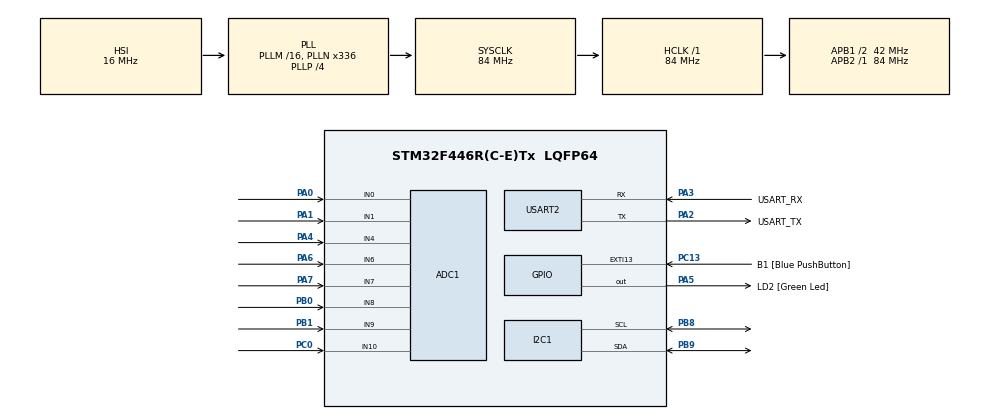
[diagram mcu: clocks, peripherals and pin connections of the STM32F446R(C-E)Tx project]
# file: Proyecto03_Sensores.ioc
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ADC1.Channel-0\#ChannelRegularConversion=ADC_CHANNEL_0
ADC1.Channel-1\#ChannelRegularConversion=ADC_CHANNEL_1
ADC1.Channel-2\#ChannelRegularConversion=ADC_CHANNEL_4
ADC1.Channel-3\#ChannelRegularConversion=ADC_CHANNEL_6
ADC1.Channel-4\#ChannelRegularConversion=ADC_CHANNEL_7
ADC1.Channel-5\#ChannelRegularConversion=ADC_CHANNEL_8
ADC1.Channel-6\#ChannelRegularConversion=ADC_CHANNEL_9
ADC1.Channel-7\#ChannelRegularConversion=ADC_CHANNEL_10
ADC1.ClockPrescaler=ADC_CLOCK_SYNC_PCLK_DIV8
ADC1.ContinuousConvMode=ENABLE
ADC1.DMAContinuousRequests=ENABLE
ADC1.EOCSelection=ADC_EOC_SEQ_CONV
ADC1.NbrOfConversion=8
ADC1.NbrOfConversionFlag=1
ADC1.Rank-0\#ChannelRegularConversion=1
ADC1.Rank-1\#ChannelRegularConversion=2
ADC1.Rank-2\#ChannelRegularConversion=3
ADC1.Rank-3\#ChannelRegularConversion=4
ADC1.Rank-4\#ChannelRegularConversion=5
ADC1.Rank-5\#ChannelRegularConversion=6
ADC1.Rank-6\#ChannelRegularConversion=7
ADC1.Rank-7\#ChannelRegularConversion=8
ADC1.SamplingTime-0\#ChannelRegularConversion=ADC_SAMPLETIME_3CYCLES
ADC1.SamplingTime-1\#ChannelRegularConversion=ADC_SAMPLETIME_3CYCLES
ADC1.SamplingTime-2\#ChannelRegularConversion=ADC_SAMPLETIME_3CYCLES
ADC1.SamplingTime-3\#ChannelRegularConversion=ADC_SAMPLETIME_3CYCLES
ADC1.SamplingTime-4\#ChannelRegularConversion=ADC_SAMPLETIME_3CYCLES
ADC1.SamplingTime-5\#ChannelRegularConversion=ADC_SAMPLETIME_3CYCLES
ADC1.SamplingTime-6\#ChannelRegularConversion=ADC_SAMPLETIME_3CYCLES
ADC1.SamplingTime-7\#ChannelRegularConversion=ADC_SAMPLETIME_3CYCLES
ADC1.ScanConvMode=ENABLE
ADC1.master=1
Dma.ADC1.0.Direction=DMA_PERIPH_TO_MEMORY
Dma.ADC1.0.FIFOMode=DMA_FIFOMODE_DISABLE
Dma.ADC1.0.Instance=DMA2_Stream0
Dma.ADC1.0.MemDataAlignment=DMA_MDATAALIGN_HALFWORD
Dma.ADC1.0.MemInc=DMA_MINC_ENABLE
Dma.ADC1.0.Mode=DMA_CIRCULAR
Dma.ADC1.0.PeriphDataAlignment=DMA_PDATAALIGN_HALFWORD
Dma.ADC1.0.PeriphInc=DMA_PINC_DISABLE
Dma.ADC1.0.Priority=DMA_PRIORITY_LOW
Dma.Request0=ADC1
I2C1.OwnAddress=0x18
Mcu.Family=STM32F4
Mcu.Name=STM32F446R(C-E)Tx
Mcu.Package=LQFP64
NVIC.DMA2_Stream0_IRQn=true\:0\:0\:false\:false\:true\:false\:true\:true
NVIC.I2C1_ER_IRQn=true\:0\:0\:false\:false\:true\:true\:true\:true
NVIC.I2C1_EV_IRQn=true\:0\:0\:false\:false\:true\:true\:true\:true
NVIC.PriorityGroup=NVIC_PRIORITYGROUP_0
NVIC.TIM6_DAC_IRQn=true\:0\:0\:false\:false\:true\:true\:true\:true
PA0-WKUP.Signal=ADCx_IN0
PA1.Signal=ADCx_IN1
PA13.GPIO_Label=TMS
PA13.Mode=Serial_Wire
PA13.Signal=SYS_JTMS-SWDIO
PA14.GPIO_Label=TCK
PA14.Mode=Serial_Wire
PA14.Signal=SYS_JTCK-SWCLK
PA2.GPIO_Label=USART_TX
PA2.Mode=Asynchronous
PA2.Signal=USART2_TX
PA3.GPIO_Label=USART_RX
PA3.Mode=Asynchronous
PA3.Signal=USART2_RX
PA4.Signal=ADCx_IN4
PA5.GPIO_Label=LD2 [Green Led]
PA5.Signal=GPIO_Output
PA6.Signal=ADCx_IN6
PA7.Signal=ADCx_IN7
PB0.Signal=ADCx_IN8
PB1.Signal=ADCx_IN9
PB3.GPIO_Label=SWO
PB3.Signal=SYS_JTDO-SWO
PB8.Mode=I2C
PB8.Signal=I2C1_SCL
PB9.Mode=I2C
PB9.Signal=I2C1_SDA
PC0.Signal=ADCx_IN10
PC13.GPIO_Label=B1 [Blue PushButton]
PC13.GPIO_ModeDefaultEXTI=GPIO_MODE_IT_FALLING
PC13.Signal=GPXTI13
PC14-OSC32_IN.Mode=LSE-External-Oscillator
PC14-OSC32_IN.Signal=RCC_OSC32_IN
PC15-OSC32_OUT.Mode=LSE-External-Oscillator
PC15-OSC32_OUT.Signal=RCC_OSC32_OUT
PH0-OSC_IN.Mode=HSE-External-Oscillator
PH0-OSC_IN.Signal=RCC_OSC_IN
PH1-OSC_OUT.Mode=HSE-External-Oscillator
PH1-OSC_OUT.Signal=RCC_OSC_OUT
ProjectManager.HeapSize=0x200
ProjectManager.StackSize=0x400
ProjectManager.TargetToolchain=STM32CubeIDE
RCC.48MHZClocksFreq_Value=84000000
RCC.AHBFreq_Value=84000000
RCC.APB1CLKDivider=RCC_HCLK_DIV2
RCC.APB1Freq_Value=42000000
RCC.APB1TimFreq_Value=84000000
RCC.APB2Freq_Value=84000000
RCC.APB2TimFreq_Value=84000000
RCC.CortexFreq_Value=84000000
RCC.FLatency-AdvancedSettings=FLASH_LATENCY_2
RCC.HCLKFreq_Value=84000000
RCC.HSE_VALUE=8000000
RCC.HSI_VALUE=16000000
RCC.PLLN=336
RCC.PLLP=RCC_PLLP_DIV4
RCC.SYSCLKFreq_VALUE=84000000
RCC.SYSCLKSource=RCC_SYSCLKSOURCE_PLLCLK
RCC.USBFreq_Value=168000000
RCC.VCOOutputFreq_Value=336000000
SH.ADCx_IN0.0=ADC1_IN0,IN0
SH.ADCx_IN1.0=ADC1_IN1,IN1
SH.ADCx_IN10.0=ADC1_IN10,IN10
SH.ADCx_IN4.0=ADC1_IN4,IN4
SH.ADCx_IN6.0=ADC1_IN6,IN6
SH.ADCx_IN7.0=ADC1_IN7,IN7
SH.ADCx_IN8.0=ADC1_IN8,IN8
SH.ADCx_IN9.0=ADC1_IN9,IN9
TIM6.AutoReloadPreload=TIM_AUTORELOAD_PRELOAD_ENABLE
TIM6.Period=250-1
TIM6.Prescaler=48000-1
TIM6.TIM_MasterOutputTrigger=TIM_TRGO_UPDATE
USART2.VirtualMode=VM_ASYNC
VP_TIM6_VS_ClockSourceINT.Mode=Enable_Timer
board=NUCLEO-F446RE

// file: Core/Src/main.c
/* USER CODE BEGIN Header */
/**
  ******************************************************************************
  * @file           : main.c
  * @brief          : Main program body
  ******************************************************************************
  * @attention
  *
  * Copyright (c) 2026 STMicroelectronics.
  * All rights reserved.
  *
  * This software is licensed under terms that can be found in the LICENSE file
  * in the root directory of this software component.
  * If no LICENSE file comes with this software, it is provided AS-IS.
  *
  ******************************************************************************
  */
/* USER CODE END Header */
#include "main.h"

/* USER CODE BEGIN Includes */
#include <stdio.h>
#include <string.h>
/* USER CODE END Includes */

ADC_HandleTypeDef hadc1;
DMA_HandleTypeDef hdma_adc1;

I2C_HandleTypeDef hi2c1;

TIM_HandleTypeDef htim6;

UART_HandleTypeDef huart2;

/* USER CODE BEGIN PV */
#define TXBUFFERSIZE 1
#define RXBUFFERSIZE 1

int count = 0;

uint8_t aTxBuffer[TXBUFFERSIZE];
uint8_t aRxBuffer[RXBUFFERSIZE];

volatile uint8_t contador = 0;
uint8_t nuevo_estado = 0;

volatile uint16_t ADCValor[8];
volatile uint8_t estadoADC = 0;
uint8_t datoArray[20];

volatile uint8_t ctrl_cmd;
volatile uint8_t rx_data;
volatile uint8_t rx_flag = 0;

volatile uint8_t sensor_state = 0;
/* USER CODE END PV */

void SystemClock_Config(void);
static void MX_GPIO_Init(void);
static void MX_DMA_Init(void);
static void MX_USART2_UART_Init(void);
static void MX_ADC1_Init(void);
static void MX_I2C1_Init(void);
static void MX_TIM6_Init(void);
/* USER CODE BEGIN PFP */
void HAL_ADC_ConvCpltCallback(ADC_HandleTypeDef *hadc);
/* USER CODE END PFP */

int main(void)
{

  /* MCU Configuration--------------------------------------------------------*/

  /* Reset of all peripherals, Initializes the Flash interface and the Systick. */
  HAL_Init();

  /* Configure the system clock */
  SystemClock_Config();

  /* Initialize all configured peripherals */
  MX_GPIO_Init();
  MX_DMA_Init();
  MX_USART2_UART_Init();
  MX_ADC1_Init();
  MX_I2C1_Init();
  MX_TIM6_Init();
  /* USER CODE BEGIN 2 */
  HAL_ADC_Start_DMA(&hadc1, (uint32_t *)ADCValor, 8);
  HAL_TIM_Base_Start_IT(&htim6);
  aTxBuffer[0] = 1;

  	  if (HAL_I2C_EnableListen_IT(&hi2c1) != HAL_OK){
  		  Error_Handler();
  	  }
  /* USER CODE END 2 */

  /* Infinite loop */
  while (1)
  {

    /* USER CODE BEGIN 3 */
//	  if(estadoADC)
//	  {
//		  HAL_ADC_Start_DMA(&hadc1, (uint32_t *)ADCValor, 8);
//		  estadoADC = 0;
//	  }

	  if (contador == 1)
	  {
	      contador = 0;

	      uint8_t nuevo_estado = 0; // Se limpia cada vez antes de recalcular

	      for (int i = 0; i < 8; i++)
	      {
	          if (ADCValor[i] >= 1000) // Cuando el sensor detecta >= 1000 activa el sensor correspondiente
	          {
	              nuevo_estado |= (1 << i);
	          }
	      }

	      sensor_state = nuevo_estado;
	  }
  }
  /* USER CODE END 3 */
}

void SystemClock_Config(void)
{
  RCC_OscInitTypeDef RCC_OscInitStruct = {0};
  RCC_ClkInitTypeDef RCC_ClkInitStruct = {0};

  /** Configure the main internal regulator output voltage
  */
  __HAL_RCC_PWR_CLK_ENABLE();
  __HAL_PWR_VOLTAGESCALING_CONFIG(PWR_REGULATOR_VOLTAGE_SCALE3);

  /** Initializes the RCC Oscillators according to the specified parameters
  * in the RCC_OscInitTypeDef structure.
  */
  RCC_OscInitStruct.OscillatorType = RCC_OSCILLATORTYPE_HSI;
  RCC_OscInitStruct.HSIState = RCC_HSI_ON;
  RCC_OscInitStruct.HSICalibrationValue = RCC_HSICALIBRATION_DEFAULT;
  RCC_OscInitStruct.PLL.PLLState = RCC_PLL_ON;
  RCC_OscInitStruct.PLL.PLLSource = RCC_PLLSOURCE_HSI;
  RCC_OscInitStruct.PLL.PLLM = 16;
  RCC_OscInitStruct.PLL.PLLN = 336;
  RCC_OscInitStruct.PLL.PLLP = RCC_PLLP_DIV4;
  RCC_OscInitStruct.PLL.PLLQ = 2;
  RCC_OscInitStruct.PLL.PLLR = 2;
  if (HAL_RCC_OscConfig(&RCC_OscInitStruct) != HAL_OK)
  {
    Error_Handler();
  }

  /** Initializes the CPU, AHB and APB buses clocks
  */
  RCC_ClkInitStruct.ClockType = RCC_CLOCKTYPE_HCLK|RCC_CLOCKTYPE_SYSCLK
                              |RCC_CLOCKTYPE_PCLK1|RCC_CLOCKTYPE_PCLK2;
  RCC_ClkInitStruct.SYSCLKSource = RCC_SYSCLKSOURCE_PLLCLK;
  RCC_ClkInitStruct.AHBCLKDivider = RCC_SYSCLK_DIV1;
  RCC_ClkInitStruct.APB1CLKDivider = RCC_HCLK_DIV2;
  RCC_ClkInitStruct.APB2CLKDivider = RCC_HCLK_DIV1;

  if (HAL_RCC_ClockConfig(&RCC_ClkInitStruct, FLASH_LATENCY_2) != HAL_OK)
  {
    Error_Handler();
  }
}

static void MX_ADC1_Init(void)
{

  ADC_ChannelConfTypeDef sConfig = {0};

  /** Configure the global features of the ADC (Clock, Resolution, Data Alignment and number of conversion)
  */
  hadc1.Instance = ADC1;
  hadc1.Init.ClockPrescaler = ADC_CLOCK_SYNC_PCLK_DIV8;
  hadc1.Init.Resolution = ADC_RESOLUTION_12B;
  hadc1.Init.ScanConvMode = ENABLE;
  hadc1.Init.ContinuousConvMode = ENABLE;
  hadc1.Init.DiscontinuousConvMode = DISABLE;
  hadc1.Init.ExternalTrigConvEdge = ADC_EXTERNALTRIGCONVEDGE_NONE;
  hadc1.Init.ExternalTrigConv = ADC_SOFTWARE_START;
  hadc1.Init.DataAlign = ADC_DATAALIGN_RIGHT;
  hadc1.Init.NbrOfConversion = 8;
  hadc1.Init.DMAContinuousRequests = ENABLE;
  hadc1.Init.EOCSelection = ADC_EOC_SEQ_CONV;
  if (HAL_ADC_Init(&hadc1) != HAL_OK)
  {
    Error_Handler();
  }

  /** Configure for the selected ADC regular channel its corresponding rank in the sequencer and its sample time.
  */
  sConfig.Channel = ADC_CHANNEL_0;
  sConfig.Rank = 1;
  sConfig.SamplingTime = ADC_SAMPLETIME_3CYCLES;
  if (HAL_ADC_ConfigChannel(&hadc1, &sConfig) != HAL_OK)
  {
    Error_Handler();
  }

  /** Configure for the selected ADC regular channel its corresponding rank in the sequencer and its sample time.
  */
  sConfig.Channel = ADC_CHANNEL_1;
  sConfig.Rank = 2;
  if (HAL_ADC_ConfigChannel(&hadc1, &sConfig) != HAL_OK)
  {
    Error_Handler();
  }

  /** Configure for the selected ADC regular channel its corresponding rank in the sequencer and its sample time.
  */
  sConfig.Channel = ADC_CHANNEL_4;
  sConfig.Rank = 3;
  if (HAL_ADC_ConfigChannel(&hadc1, &sConfig) != HAL_OK)
  {
    Error_Handler();
  }

  /** Configure for the selected ADC regular channel its corresponding rank in the sequencer and its sample time.
  */
  sConfig.Channel = ADC_CHANNEL_6;
  sConfig.Rank = 4;
  if (HAL_ADC_ConfigChannel(&hadc1, &sConfig) != HAL_OK)
  {
    Error_Handler();
  }

  /** Configure for the selected ADC regular channel its corresponding rank in the sequencer and its sample time.
  */
  sConfig.Channel = ADC_CHANNEL_7;
  sConfig.Rank = 5;
  if (HAL_ADC_ConfigChannel(&hadc1, &sConfig) != HAL_OK)
  {
    Error_Handler();
  }

  /** Configure for the selected ADC regular channel its corresponding rank in the sequencer and its sample time.
  */
  sConfig.Channel = ADC_CHANNEL_8;
  sConfig.Rank = 6;
  if (HAL_ADC_ConfigChannel(&hadc1, &sConfig) != HAL_OK)
  {
    Error_Handler();
  }

  /** Configure for the selected ADC regular channel its corresponding rank in the sequencer and its sample time.
  */
  sConfig.Channel = ADC_CHANNEL_9;
  sConfig.Rank = 7;
  if (HAL_ADC_ConfigChannel(&hadc1, &sConfig) != HAL_OK)
  {
    Error_Handler();
  }

  /** Configure for the selected ADC regular channel its corresponding rank in the sequencer and its sample time.
  */
  sConfig.Channel = ADC_CHANNEL_10;
  sConfig.Rank = 8;
  if (HAL_ADC_ConfigChannel(&hadc1, &sConfig) != HAL_OK)
  {
    Error_Handler();
  }

}

static void MX_I2C1_Init(void)
{

  hi2c1.Instance = I2C1;
  hi2c1.Init.ClockSpeed = 100000;
  hi2c1.Init.DutyCycle = I2C_DUTYCYCLE_2;
  hi2c1.Init.OwnAddress1 = 48;
  hi2c1.Init.AddressingMode = I2C_ADDRESSINGMODE_7BIT;
  hi2c1.Init.DualAddressMode = I2C_DUALADDRESS_DISABLE;
  hi2c1.Init.OwnAddress2 = 0;
  hi2c1.Init.GeneralCallMode = I2C_GENERALCALL_DISABLE;
  hi2c1.Init.NoStretchMode = I2C_NOSTRETCH_DISABLE;
  if (HAL_I2C_Init(&hi2c1) != HAL_OK)
  {
    Error_Handler();
  }

}

static void MX_TIM6_Init(void)
{

  TIM_MasterConfigTypeDef sMasterConfig = {0};

  htim6.Instance = TIM6;
  htim6.Init.Prescaler = 48000-1;
  htim6.Init.CounterMode = TIM_COUNTERMODE_UP;
  htim6.Init.Period = 250-1;
  htim6.Init.AutoReloadPreload = TIM_AUTORELOAD_PRELOAD_ENABLE;
  if (HAL_TIM_Base_Init(&htim6) != HAL_OK)
  {
    Error_Handler();
  }
  sMasterConfig.MasterOutputTrigger = TIM_TRGO_UPDATE;
  sMasterConfig.MasterSlaveMode = TIM_MASTERSLAVEMODE_DISABLE;
  if (HAL_TIMEx_MasterConfigSynchronization(&htim6, &sMasterConfig) != HAL_OK)
  {
    Error_Handler();
  }

}

static void MX_USART2_UART_Init(void)
{

  huart2.Instance = USART2;
  huart2.Init.BaudRate = 115200;
  huart2.Init.WordLength = UART_WORDLENGTH_8B;
  huart2.Init.StopBits = UART_STOPBITS_1;
  huart2.Init.Parity = UART_PARITY_NONE;
  huart2.Init.Mode = UART_MODE_TX_RX;
  huart2.Init.HwFlowCtl = UART_HWCONTROL_NONE;
  huart2.Init.OverSampling = UART_OVERSAMPLING_16;
  if (HAL_UART_Init(&huart2) != HAL_OK)
  {
    Error_Handler();
  }

}

static void MX_DMA_Init(void)
{

  /* DMA controller clock enable */
  __HAL_RCC_DMA2_CLK_ENABLE();

  /* DMA interrupt init */
  /* DMA2_Stream0_IRQn interrupt configuration */
  HAL_NVIC_SetPriority(DMA2_Stream0_IRQn, 0, 0);
  HAL_NVIC_EnableIRQ(DMA2_Stream0_IRQn);

}

static void MX_GPIO_Init(void)
{
  GPIO_InitTypeDef GPIO_InitStruct = {0};

  /* GPIO Ports Clock Enable */
  __HAL_RCC_GPIOC_CLK_ENABLE();
  __HAL_RCC_GPIOH_CLK_ENABLE();
  __HAL_RCC_GPIOA_CLK_ENABLE();
  __HAL_RCC_GPIOB_CLK_ENABLE();

  /*Configure GPIO pin Output Level */
  HAL_GPIO_WritePin(LD2_GPIO_Port, LD2_Pin, GPIO_PIN_RESET);

  /*Configure GPIO pin : B1_Pin */
  GPIO_InitStruct.Pin = B1_Pin;
  GPIO_InitStruct.Mode = GPIO_MODE_IT_FALLING;
  GPIO_InitStruct.Pull = GPIO_NOPULL;
  HAL_GPIO_Init(B1_GPIO_Port, &GPIO_InitStruct);

  /*Configure GPIO pin : LD2_Pin */
  GPIO_InitStruct.Pin = LD2_Pin;
  GPIO_InitStruct.Mode = GPIO_MODE_OUTPUT_PP;
  GPIO_InitStruct.Pull = GPIO_NOPULL;
  GPIO_InitStruct.Speed = GPIO_SPEED_FREQ_LOW;
  HAL_GPIO_Init(LD2_GPIO_Port, &GPIO_InitStruct);

}

/* USER CODE BEGIN 4 */
void HAL_ADC_ConvCpltCallback(ADC_HandleTypeDef *hadc)
{
	estadoADC = 1;
}

void HAL_TIM_PeriodElapsedCallback(TIM_HandleTypeDef *htim)
{
    if(htim->Instance == TIM6)
    {
        contador = 1;
    }
}

void HAL_I2C_ListenCpltCallback(I2C_HandleTypeDef *hi2c){
	HAL_I2C_EnableListen_IT(hi2c);
}

void HAL_I2C_AddrCallback(I2C_HandleTypeDef *hi2c, uint8_t TransferDirection,
                          uint16_t AddrMatchCode)
{
    if (hi2c->Instance == I2C1)
    {
        if (TransferDirection == I2C_DIRECTION_TRANSMIT)
        {
            if (HAL_I2C_Slave_Seq_Receive_IT(hi2c, aRxBuffer, 1,
                                             I2C_FIRST_AND_LAST_FRAME) != HAL_OK)
            {
                HAL_I2C_EnableListen_IT(hi2c);
            }
        }
        else if (TransferDirection == I2C_DIRECTION_RECEIVE)
        {
            aTxBuffer[0] = sensor_state;

            if (HAL_I2C_Slave_Seq_Transmit_IT(hi2c, aTxBuffer, 1,
                                              I2C_FIRST_AND_LAST_FRAME) != HAL_OK)
            {
                HAL_I2C_EnableListen_IT(hi2c);
            }
        }
    }
}
void HAL_I2C_SlaveTxCpltCallback(I2C_HandleTypeDef *I2cHandle)
{
    //aTxBuffer[0] = sensor_state;
}

void HAL_I2C_SlaveRxCpltCallback(I2C_HandleTypeDef *I2cHandle)
{
    if (aRxBuffer[0] == 83)
    {
        HAL_GPIO_TogglePin(LD2_GPIO_Port, LD2_Pin);
    }

    // HAL_UART_Transmit(&huart2, aTxBuffer, 4, 1000);

    aRxBuffer[0] = 0x00;

    // aRxBuffer[1] = 0x00;
    // aRxBuffer[2] = 0x00;
    // aRxBuffer[3] = 0x00;
}

void HAL_I2C_ErrorCallback(I2C_HandleTypeDef *I2cHandle)
{
    uint32_t error = HAL_I2C_GetError(I2cHandle);

    if (I2cHandle->Instance == I2C1)
    {
        HAL_I2C_DisableListen_IT(I2cHandle);
        HAL_I2C_DeInit(I2cHandle);
        HAL_I2C_Init(I2cHandle);
        HAL_I2C_EnableListen_IT(I2cHandle);
    }
}
/* USER CODE END 4 */

void Error_Handler(void)
{
  __disable_irq();
  while (1)
  {
  }
}
